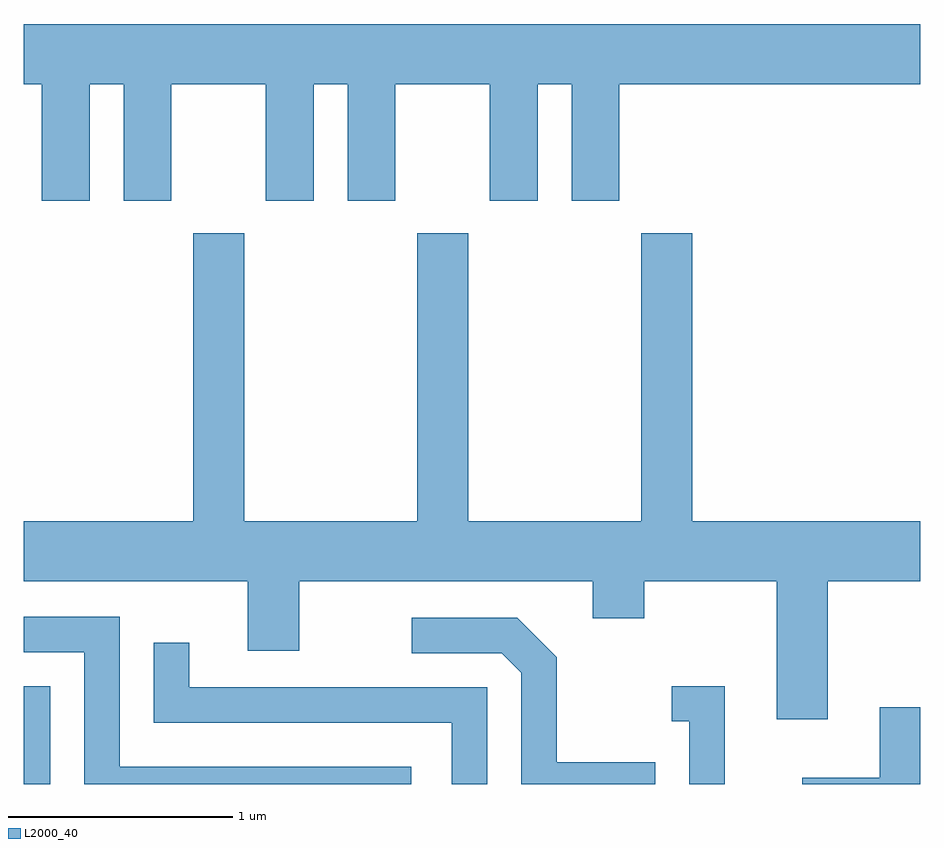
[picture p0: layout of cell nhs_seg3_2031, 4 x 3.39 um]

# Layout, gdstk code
import gdstk
lib = gdstk.Library(unit=1e-6, precision=1e-09)
def R(c, l, rs):  # rectangles x0, y0, x1, y1
    for r in rs: c.add(gdstk.rectangle(r[:2], r[2:], *l))
def P(c, l, *ps):  # polygons
    for p in ps: c.add(gdstk.Polygon(p, *l))
L2000_40 = (2000, 40)

nhs_seg3_2031 = lib.new_cell('nhs_seg3_2031')
R(nhs_seg3_2031, L2000_40, [(243.611,1233.892,243.729,1234.329)])
P(nhs_seg3_2031, L2000_40, [(243.611,1237.016),(243.691,1237.016),(243.691,1236.496),(243.904,1236.496),(243.904,1237.016),(244.056,1237.016),(244.056,1236.496),(244.269,1236.496),(244.269,1237.016),(244.691,1237.016),(244.691,1236.496),(244.904,1236.496),(244.904,1237.016),(245.056,1237.016),(245.056,1236.496),(245.269,1236.496),(245.269,1237.016),(245.691,1237.016),(245.691,1236.496),(245.904,1236.496),(245.904,1237.016),(246.056,1237.016),(246.056,1236.496),(246.269,1236.496),(246.269,1237.016),(247.611,1237.016),(247.611,1237.284),(243.611,1237.284)],
  [(244.594,1236.349),(244.366,1236.349),(244.366,1235.064),(243.611,1235.064),(243.611,1234.796),(244.611,1234.796),(244.611,1234.486),(244.839,1234.486),(244.839,1234.796),(246.151,1234.796),(246.151,1234.631),(246.379,1234.631),(246.379,1234.796),(246.971,1234.796),(246.971,1234.181),(247.199,1234.181),(247.199,1234.796),(247.611,1234.796),(247.611,1235.064),(246.594,1235.064),(246.594,1236.349),(246.366,1236.349),(246.366,1235.064),(245.594,1235.064),(245.594,1236.349),(245.366,1236.349),(245.366,1235.064),(244.594,1235.064)],
  [(245.339,1233.969),(244.039,1233.969),(244.039,1234.639),(243.611,1234.639),(243.611,1234.481),(243.881,1234.481),(243.881,1233.892),(245.339,1233.892)],
  [(246.429,1233.989),(245.989,1233.989),(245.989,1234.457),(245.812,1234.634),(245.343,1234.634),(245.343,1234.476),(245.744,1234.476),(245.831,1234.389),(245.831,1233.892),(246.429,1233.892)],
  [(245.679,1234.324),(244.349,1234.324),(244.349,1234.523),(244.191,1234.523),(244.191,1234.166),(245.521,1234.166),(245.521,1233.892),(245.679,1233.892)],
  [(246.739,1234.329),(246.503,1234.329),(246.503,1234.171),(246.581,1234.171),(246.581,1233.892),(246.739,1233.892)],
  [(247.611,1234.234),(247.431,1234.234),(247.431,1233.919),(247.086,1233.919),(247.086,1233.892),(247.611,1233.892)])

lib.write_gds('nhs_seg3_2031.gds')
